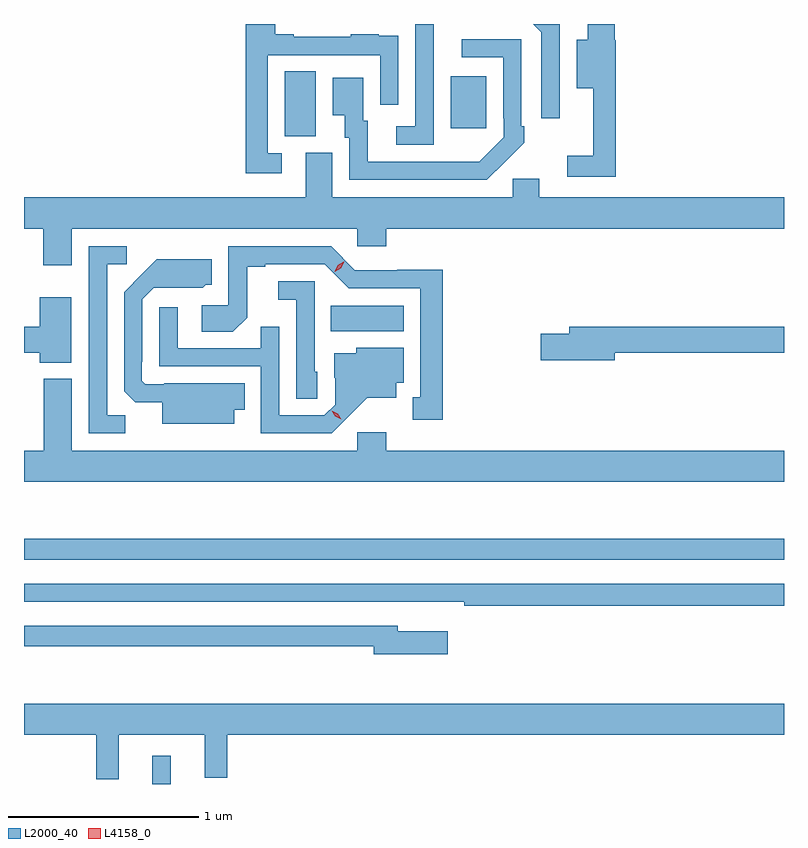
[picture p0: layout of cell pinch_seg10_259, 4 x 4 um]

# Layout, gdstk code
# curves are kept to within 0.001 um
import gdstk
lib = gdstk.Library(unit=1e-6, precision=1e-09)
def R(c, l, rs):  # rectangles x0, y0, x1, y1
    for r in rs: c.add(gdstk.rectangle(r[:2], r[2:], *l))
def P(c, l, *ps):  # polygons
    for p in ps: c.add(gdstk.Polygon(p, *l))
L2000_40 = (2000, 40)
L4158_0 = (4158, 0)

pinch_seg10_259 = lib.new_cell('pinch_seg10_259')
R(pinch_seg10_259, L2000_40, [(516.05,1290.733,516.147,1290.883), (515.374,1291.914,519.374,1292.023), (516.988,1293.116,517.372,1293.25), (516.746,1294.141,516.91,1294.484), (517.619,1294.185,517.807,1294.459)])
P(pinch_seg10_259, L2000_40, [(517.53,1294.555),(517.531,1294.555),(517.531,1294.733),(517.434,1294.733),(517.434,1294.194),(517.332,1294.194),(517.332,1294.098),(517.53,1294.098)],
  [(518.489,1294.647),(518.483,1294.647),(518.483,1294.733),(518.342,1294.733),(518.342,1294.651),(518.282,1294.651),(518.282,1294.394),(518.371,1294.394),(518.371,1294.039),(518.232,1294.039),(518.232,1293.93),(518.489,1293.93)],
  [(518.193,1294.731),(518.191,1294.733),(518.053,1294.733),(518.097,1294.689),(518.097,1294.236),(518.193,1294.236)],
  [(516.73,1294.053),(516.657,1294.053),(516.657,1294.569),(517.248,1294.569),(517.248,1294.308),(517.344,1294.308),(517.344,1294.562),(517.343,1294.562),(517.343,1294.671),(517.241,1294.671),(517.241,1294.678),(517.093,1294.678),(517.093,1294.665),(516.793,1294.665),(516.793,1294.678),(516.697,1294.678),(516.697,1294.733),(516.541,1294.733),(516.541,1293.948),(516.73,1293.948)],
  [(517.901,1294.003),(517.902,1294.002),(518.007,1294.107),(518.007,1294.195),(517.992,1294.195),(517.992,1294.653),(517.677,1294.653),(517.677,1294.557),(517.896,1294.557),(517.896,1294.237),(517.899,1294.237),(517.899,1294.137),(517.77,1294.009),(517.183,1294.008),(517.183,1294.224),(517.159,1294.224),(517.159,1294.45),(516.998,1294.45),(516.998,1294.253),(517.061,1294.253),(517.061,1294.134),(517.086,1294.134),(517.086,1293.912),(517.81,1293.912)],
  [(515.626,1293.656),(517.128,1293.656),(517.128,1293.563),(517.28,1293.563),(517.28,1293.656),(519.374,1293.656),(519.374,1293.82),(518.086,1293.82),(518.086,1293.918),(517.947,1293.918),(517.947,1293.82),(516.997,1293.82),(516.997,1294.056),(516.857,1294.056),(516.857,1293.82),(515.374,1293.82),(515.374,1293.656),(515.474,1293.656),(515.474,1293.462),(515.626,1293.462)],
  [(515.907,1292.675),(515.811,1292.675),(515.811,1293.468),(515.914,1293.468),(515.914,1293.564),(515.715,1293.564),(515.715,1292.58),(515.907,1292.58)],
  [(517.579,1293.44),(517.338,1293.44),(517.338,1293.438),(517.116,1293.438),(516.99,1293.564),(516.45,1293.564),(516.45,1293.252),(516.309,1293.252),(516.309,1293.112),(516.473,1293.112),(516.549,1293.188),(516.549,1293.456),(516.643,1293.456),(516.643,1293.468),(516.957,1293.468),(517.083,1293.342),(517.46,1293.342),(517.46,1292.769),(517.421,1292.769),(517.421,1292.649),(517.579,1292.649)],
  [(516.481,1292.702),(516.536,1292.702),(516.536,1292.842),(516.112,1292.842),(516.112,1292.838),(516.012,1292.838),(515.994,1292.856),(515.994,1292.956),(515.997,1292.956),(515.997,1293.285),(516.057,1293.345),(516.314,1293.344),(516.33,1293.36),(516.361,1293.36),(516.361,1293.496),(516.073,1293.496),(515.901,1293.322),(515.901,1292.8),(515.96,1292.741),(516.101,1292.741),(516.101,1292.63),(516.481,1292.63)],
  [(516.918,1292.904),(516.903,1292.904),(516.903,1293.378),(516.711,1293.378),(516.711,1293.281),(516.807,1293.281),(516.807,1292.761),(516.918,1292.761)],
  [(515.623,1293.295),(515.456,1293.295),(515.456,1293.14),(515.374,1293.14),(515.374,1293.004),(515.456,1293.004),(515.456,1292.951),(515.623,1292.951)],
  [(517.078,1292.663),(517.181,1292.765),(517.333,1292.765),(517.333,1292.844),(517.372,1292.844),(517.372,1293.028),(517.122,1293.028),(517.122,1293.001),(517.007,1293.001),(517.007,1292.872),(517.011,1292.872),(517.011,1292.73),(516.954,1292.673),(516.717,1292.673),(516.717,1293.14),(516.619,1293.14),(516.619,1293.027),(516.183,1293.027),(516.183,1293.241),(516.087,1293.241),(516.087,1292.931),(516.621,1292.931),(516.621,1292.58),(516.994,1292.58)],
  [(518.482,1293.004),(519.374,1293.004),(519.374,1293.14),(518.243,1293.14),(518.243,1293.104),(518.094,1293.104),(518.094,1292.962),(518.482,1292.962)],
  [(519.374,1292.488),(517.28,1292.488),(517.28,1292.584),(517.128,1292.584),(517.128,1292.488),(515.626,1292.488),(515.626,1292.866),(515.479,1292.866),(515.479,1292.488),(515.374,1292.488),(515.374,1292.324),(519.374,1292.324)],
  [(519.374,1291.788),(515.374,1291.788),(515.374,1291.692),(517.438,1291.692),(517.438,1291.691),(517.69,1291.691),(517.69,1291.672),(519.374,1291.672)],
  [(517.603,1291.537),(517.342,1291.537),(517.342,1291.566),(515.374,1291.566),(515.374,1291.458),(517.214,1291.458),(517.214,1291.415),(517.603,1291.415)],
  [(515.873,1290.992),(516.326,1290.992),(516.326,1290.767),(516.443,1290.767),(516.443,1290.992),(519.374,1290.992),(519.374,1291.156),(515.374,1291.156),(515.374,1290.992),(515.755,1290.992),(515.755,1290.759),(515.873,1290.759)])
P(pinch_seg10_259, L4158_0, [(517.044,1292.653),(517.013,1292.668),(516.994,1292.697),(516.994,1292.697),(516.995,1292.697),(517.026,1292.683),(517.044,1292.654),(517.044,1292.653)],
  [(517.009,1293.43),(517.009,1293.43),(517.026,1293.462),(517.058,1293.481),(517.059,1293.481),(517.059,1293.481),(517.041,1293.448),(517.009,1293.43)])

lib.write_gds('pinch_seg10_259.gds')
